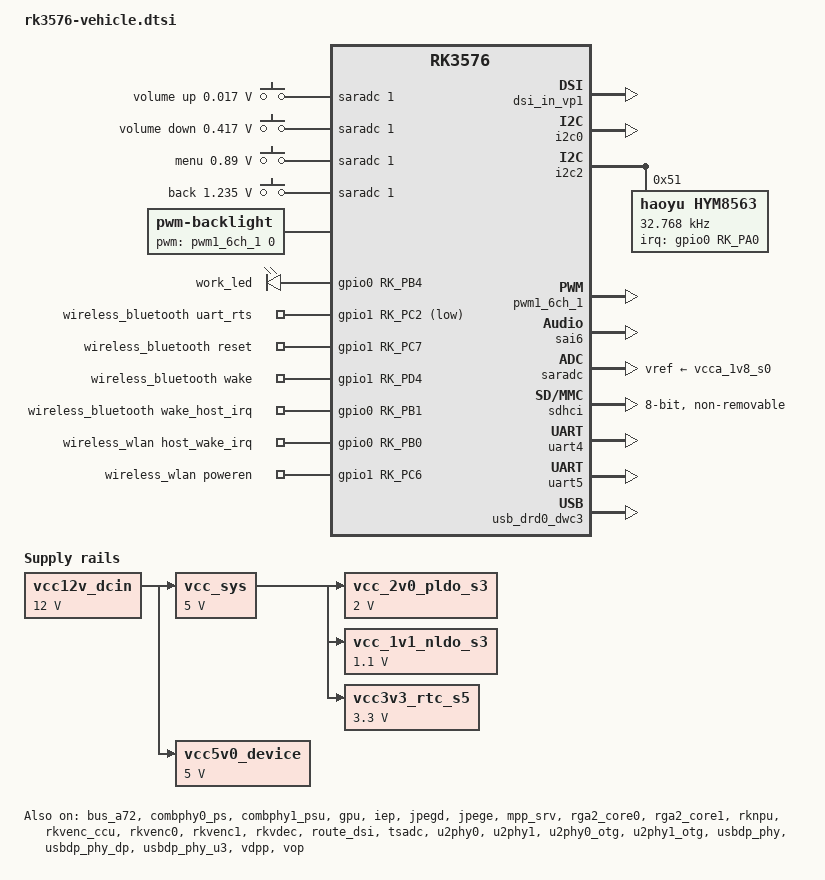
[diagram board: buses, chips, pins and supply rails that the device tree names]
// SPDX-License-Identifier: (GPL-2.0+ OR MIT)
/*
 * Copyright (c) 2024 Rockchip Electronics Co., Ltd.
 *
 */

#include <dt-bindings/gpio/gpio.h>
#include <dt-bindings/pwm/pwm.h>
#include <dt-bindings/pinctrl/rockchip.h>
#include <dt-bindings/input/rk-input.h>
#include <dt-bindings/display/drm_mipi_dsi.h>
#include <dt-bindings/display/rockchip_vop.h>
#include <dt-bindings/sensor-dev.h>

/ {
	adc_keys: adc-keys {
		compatible = "adc-keys";
		io-channels = <&saradc 1>;
		io-channel-names = "buttons";
		keyup-threshold-microvolt = <1800000>;
		poll-interval = <100>;

		vol-up-key {
			label = "volume up";
			linux,code = <KEY_VOLUMEUP>;
			press-threshold-microvolt = <17000>;
		};

		vol-down-key {
			label = "volume down";
			linux,code = <KEY_VOLUMEDOWN>;
			press-threshold-microvolt = <417000>;
		};

		menu-key {
			label = "menu";
			linux,code = <KEY_MENU>;
			press-threshold-microvolt = <890000>;
		};

		back-key {
			label = "back";
			linux,code = <KEY_BACK>;
			press-threshold-microvolt = <1235000>;
		};
	};

	backlight: backlight {
		compatible = "pwm-backlight";
		pwms = <&pwm1_6ch_1 0 25000 0>;
		brightness-levels = <
			  0  20  20  21  21  22  22  23
			 23  24  24  25  25  26  26  27
			 27  28  28  29  29  30  30  31
			 31  32  32  33  33  34  34  35
			 35  36  36  37  37  38  38  39
			 40  41  42  43  44  45  46  47
			 48  49  50  51  52  53  54  55
			 56  57  58  59  60  61  62  63
			 64  65  66  67  68  69  70  71
			 72  73  74  75  76  77  78  79
			 80  81  82  83  84  85  86  87
			 88  89  90  91  92  93  94  95
			 96  97  98  99 100 101 102 103
			104 105 106 107 108 109 110 111
			112 113 114 115 116 117 118 119
			120 121 122 123 124 125 126 127
			128 129 130 131 132 133 134 135
			136 137 138 139 140 141 142 143
			144 145 146 147 148 149 150 151
			152 153 154 155 156 157 158 159
			160 161 162 163 164 165 166 167
			168 169 170 171 172 173 174 175
			176 177 178 179 180 181 182 183
			184 185 186 187 188 189 190 191
			192 193 194 195 196 197 198 199
			200 201 202 203 204 205 206 207
			208 209 210 211 212 213 214 215
			216 217 218 219 220 221 222 223
			224 225 226 227 228 229 230 231
			232 233 234 235 236 237 238 239
			240 241 242 243 244 245 246 247
			248 249 250 251 252 253 254 255
		>;
		default-brightness-level = <200>;
	};

	dp0_sound: dp0-sound {
		status = "disabled";
		compatible = "rockchip,hdmi";
		rockchip,mclk-fs = <512>;
		rockchip,card-name = "rockchip-dp0";
		rockchip,cpu = <&spdif_tx3>;
		rockchip,codec = <&dp0 1>;
		rockchip,jack-det;
	};

	hdmi_sound: hdmi-sound {
		compatible = "rockchip,hdmi";
		rockchip,mclk-fs = <128>;
		rockchip,card-name = "rockchip-hdmi";
		rockchip,cpu = <&sai6>;
		rockchip,codec = <&hdmi>;
		rockchip,jack-det;
	};

	leds: leds {
		compatible = "gpio-leds";
		work_led: work {
			gpios = <&gpio0 RK_PB4 GPIO_ACTIVE_HIGH>;
			linux,default-trigger = "heartbeat";
		};
	};

	vcc12v_dcin: vcc12v-dcin {
		compatible = "regulator-fixed";
		regulator-name = "vcc12v_dcin";
		regulator-always-on;
		regulator-boot-on;
		regulator-min-microvolt = <12000000>;
		regulator-max-microvolt = <12000000>;
	};

	vcc_sys: vcc5v0-sys {
		compatible = "regulator-fixed";
		regulator-name = "vcc_sys";
		regulator-always-on;
		regulator-boot-on;
		regulator-min-microvolt = <5000000>;
		regulator-max-microvolt = <5000000>;
		vin-supply = <&vcc12v_dcin>;
	};

	vcc5v0_device: vcc5v0-device {
		compatible = "regulator-fixed";
		regulator-name = "vcc5v0_device";
		regulator-always-on;
		regulator-boot-on;
		regulator-min-microvolt = <5000000>;
		regulator-max-microvolt = <5000000>;
		vin-supply = <&vcc12v_dcin>;
	};

	vcc_2v0_pldo_s3: vcc-2v0-pldo-s3 {
		compatible = "regulator-fixed";
		regulator-name = "vcc_2v0_pldo_s3";
		regulator-boot-on;
		regulator-always-on;
		regulator-min-microvolt = <2000000>;
		regulator-max-microvolt = <2000000>;
		vin-supply = <&vcc_sys>;
	};

	vcc_1v1_nldo_s3: vcc-1v1-nldo-s3 {
		compatible = "regulator-fixed";
		regulator-name = "vcc_1v1_nldo_s3";
		regulator-boot-on;
		regulator-always-on;
		regulator-min-microvolt = <1100000>;
		regulator-max-microvolt = <1100000>;
		vin-supply = <&vcc_sys>;
	};

	vcc3v3_rtc_s5: vcc3v3-rtc-s5 {
		compatible = "regulator-fixed";
		regulator-name = "vcc3v3_rtc_s5";
		regulator-boot-on;
		regulator-always-on;
		regulator-min-microvolt = <3300000>;
		regulator-max-microvolt = <3300000>;
		vin-supply = <&vcc_sys>;
	};

	wireless_bluetooth: wireless-bluetooth {
		compatible = "bluetooth-platdata";
		bt_port = "/dev/ttyS4";
		uart_rts_gpios = <&gpio1 RK_PC2 GPIO_ACTIVE_LOW>;
		pinctrl-names = "default", "rts_gpio";
		pinctrl-0 = <&uart4m1_rtsn>;
		pinctrl-1 = <&uart4_gpios>;
		BT,reset_gpio    = <&gpio1 RK_PC7 GPIO_ACTIVE_HIGH>;
		BT,wake_gpio     = <&gpio1 RK_PD4 GPIO_ACTIVE_HIGH>;
		BT,wake_host_irq = <&gpio0 RK_PB1 GPIO_ACTIVE_HIGH>;
		status = "okay";
	};

	wireless_wlan: wireless-wlan {
		compatible = "wlan-platdata";
		wifi_chip_type = "ap6275p";
		pinctrl-names = "default";
		pinctrl-0 = <&wifi_host_wake_irq>;
		WIFI,host_wake_irq = <&gpio0 RK_PB0 GPIO_ACTIVE_HIGH>;
		WIFI,poweren_gpio = <&gpio1 RK_PC6 GPIO_ACTIVE_HIGH>;
		status = "okay";
	};
};

&bus_a72 {
	bus-supply = <&vdd_logic_s0>;
	pvtm-supply = <&vdd_logic_s0>;
	status = "okay";
};

&combphy0_ps {
	status = "okay";
};

&combphy1_psu {
	status = "okay";
};

&cpu_l0 {
	cpu-supply = <&vdd_cpu_lit_s0>;
};

&cpu_b0 {
	cpu-supply = <&vdd_cpu_big_s0>;
};


&dsi_in_vp0 {
	status = "disabled";
};

&dsi_in_vp1 {
	status = "okay";
};

&dsi_in_vp2 {
	status = "disabled";
};

&dsi_in_vopl {
	status = "disabled";
};

&gpu {
	mali-supply = <&vdd_gpu_s0>;
	status = "okay";
};

&i2c0 {
	pinctrl-0 = <&i2c0m1_xfer>;
	status = "okay";

	gt1x: gt1x@14 {
		status = "disabled";
		compatible = "goodix,gt1x";
		reg = <0x14>;
		pinctrl-names = "default";
		pinctrl-0 = <&touch_gpio>;
		goodix,rst-gpio = <&gpio0 RK_PD0 GPIO_ACTIVE_HIGH>;
		goodix,irq-gpio = <&gpio0 RK_PC5 IRQ_TYPE_LEVEL_LOW>;
	};

	hynitron: hynitron@5a {
		status = "disabled";
		compatible = "hyn,3240";
		reg = <0x5a>;

		pinctrl-names = "ts_active","ts_suspend";
		pinctrl-0 = <&ts_int_active &ts_reset_active>;
		pinctrl-1 = <&ts_int_suspend &ts_reset_suspend>;

		reset-gpios = <&gpio0 RK_PD0 GPIO_ACTIVE_HIGH>;
		irq-gpios = <&gpio0 RK_PC5 GPIO_ACTIVE_LOW>;

		max-touch-number = <5>;
		display-coords = <0 0 1080 1920>;
		pos-swap = <0>;
		posx-reverse = <0>;
		posy-reverse = <0>;
	};
};

&i2c2 {
	hym8563: hym8563@51 {
		compatible = "haoyu,hym8563";
		reg = <0x51>;
		#clock-cells = <0>;
		clock-frequency = <32768>;
		clock-output-names = "hym8563";
		pinctrl-names = "default";
		pinctrl-0 = <&hym8563_int>;
		interrupt-parent = <&gpio0>;
		interrupts = <RK_PA0 IRQ_TYPE_LEVEL_LOW>;
		wakeup-source;
	};
};

&iep {
	status = "okay";
};

&iep_mmu {
	status = "okay";
};

&jpegd {
	status = "okay";
};

&jpege {
	status = "okay";
};

&jpeg_mmu {
	status = "okay";
};

&mpp_srv {
	status = "okay";
};

&pinctrl {
	hym8563 {
		hym8563_int: hym8563-int {
			rockchip,pins = <0 RK_PA0 RK_FUNC_GPIO &pcfg_pull_up>;
		};
	};

	touch {
		touch_gpio: touch-gpio {
			rockchip,pins =
				<0 RK_PD0 RK_FUNC_GPIO &pcfg_pull_up>,
				<0 RK_PC5 RK_FUNC_GPIO &pcfg_pull_up>;
		};

		ts_int_active: ts_int_active {
			rockchip,pins = <0 RK_PC5 RK_FUNC_GPIO &pcfg_pull_up>;
		};

		ts_reset_active: ts_reset_active {
			rockchip,pins = <0 RK_PD0 RK_FUNC_GPIO &pcfg_pull_up>;
		};

		ts_int_suspend: ts_int_suspend {
			rockchip,pins = <0 RK_PC5 RK_FUNC_GPIO &pcfg_pull_down>;
		};

		ts_reset_suspend: ts_reset_suspend {
			rockchip,pins = <0 RK_PD0 RK_FUNC_GPIO &pcfg_pull_down>;
		};
	};

	wireless-bluetooth {
		uart4_gpios: uart4-gpios {
			rockchip,pins = <1 RK_PC2 RK_FUNC_GPIO &pcfg_pull_none>;
		};
	};

	wireless-wlan {
		wifi_host_wake_irq: wifi-host-wake-irq {
			rockchip,pins = <0 RK_PB0 RK_FUNC_GPIO &pcfg_pull_down>;
		};

		wifi_poweren_gpio: wifi-poweren-gpio {
			rockchip,pins = <1 RK_PC6 RK_FUNC_GPIO &pcfg_pull_up>;
		};
	};
};

&pwm1_6ch_1 {
	status = "okay";
	pinctrl-0 = <&pwm1m0_ch1>;
};

&rga2_core0 {
	status = "okay";
};

&rga2_core0_mmu {
	status = "okay";
};

&rga2_core1 {
	status = "okay";
};

&rga2_core1_mmu {
	status = "okay";
};

&rknpu {
	rknpu-supply = <&vdd_npu_s0>;
	status = "okay";
};

&rknpu_mmu {
	status = "okay";
};

&rkvenc_ccu {
	status = "okay";
};

&rkvenc0 {
	status = "okay";
};

&rkvenc0_mmu {
	status = "okay";
};

&rkvenc1 {
	status = "okay";
};

&rkvenc1_mmu {
	status = "okay";

};

&rkvdec {
	status = "okay";
};

&rkvdec_mmu {
	status = "okay";
};

&rockchip_suspend {
	status = "okay";
	rockchip,sleep-debug-en = <1>;

	rockchip,sleep-io-ret-config = <
		(0
		| RKPM_VCCIO3_RET_EN
		)
	>;
};

&route_dsi {
	status = "okay";
};

&sai6 {
	status = "okay";
};

&saradc {
	status = "okay";
	vref-supply = <&vcca_1v8_s0>;
};

&sdhci {
	bus-width = <8>;
	no-sdio;
	no-sd;
	non-removable;
	max-frequency = <200000000>;
	mmc-hs400-1_8v;
	mmc-hs400-enhanced-strobe;
	full-pwr-cycle-in-suspend;
	status = "okay";
};

&sdmmc {
	max-frequency = <200000000>;
	no-sdio;
	no-mmc;
	bus-width = <4>;
	cap-mmc-highspeed;
	cap-sd-highspeed;
	disable-wp;
	sd-uhs-sdr104;
	vqmmc-supply = <&vccio_sd_s0>;
	status = "disabled";
};

&tsadc {
	status = "okay";
};

&u2phy0 {
	status = "okay";
};

&u2phy1 {
	status = "okay";
};

&u2phy0_otg {
	status = "okay";
};

&u2phy1_otg {
	status = "okay";
};

&uart4 {
	status = "okay";
	pinctrl-names = "default";
	pinctrl-0 = <&uart4m1_xfer &uart4m1_ctsn>;
};

&uart5 {
	/delete-property/ dmas;
	status = "okay";
	pinctrl-names = "default";
	pinctrl-0 = <&uart5m2_xfer &uart5m2_ctsn>;
};

&ufs {
	reset-gpios = <&gpio4 RK_PD0 GPIO_ACTIVE_HIGH>;
};

&usbdp_phy {
	status = "okay";
};

&usbdp_phy_dp {
	status = "okay";
};

&usbdp_phy_u3 {
	status = "okay";
};

&usb_drd0_dwc3 {
	status = "okay";
};

&vdpp {
	status = "okay";
};

&vop {
	status = "okay";
	/* vop-supply = <&vdd_logic_s0>; */
};

&vop_mmu {
	status = "okay";
};
